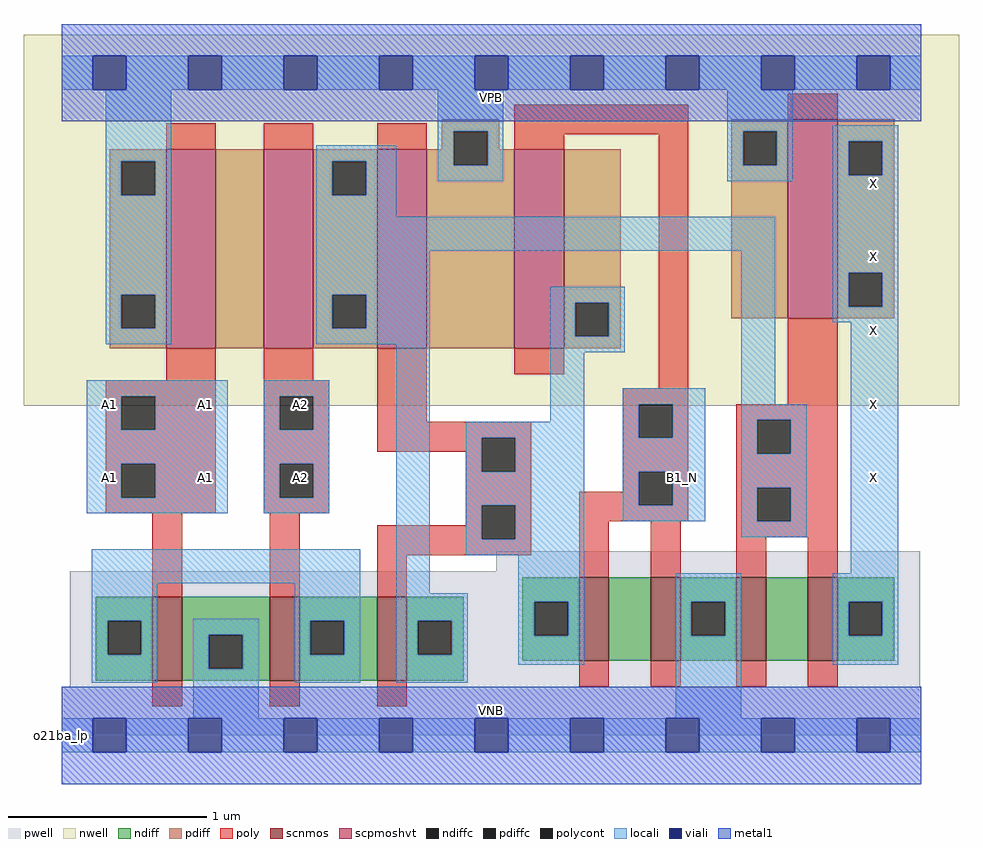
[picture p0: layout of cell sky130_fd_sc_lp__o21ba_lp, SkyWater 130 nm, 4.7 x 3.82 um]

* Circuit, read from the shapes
.subckt sky130_fd_sc_lp__o21ba_lp A1 A2 B1_N VGND VNB VPB VPWR X
XM1 VGND A1 n1 VNB sky130_fd_pr__nfet_01v8 w=0.42 l=0.15
XM2 n1 A2 VGND VNB sky130_fd_pr__nfet_01v8 w=0.42 l=0.15
XM3 n2 n3 n1 VNB sky130_fd_pr__nfet_01v8 w=0.42 l=0.15
XM4 n4 B1_N n3 VNB sky130_fd_pr__nfet_01v8 w=0.42 l=0.15
XM5 VGND B1_N n4 VNB sky130_fd_pr__nfet_01v8 w=0.42 l=0.15
XM6 n5 n2 VGND VNB sky130_fd_pr__nfet_01v8 w=0.42 l=0.15
XM7 X n2 n5 VNB sky130_fd_pr__nfet_01v8 w=0.42 l=0.15
XM8 n6 A1 VPWR VPB sky130_fd_pr__pfet_01v8_hvt w=1 l=0.25
XM9 n2 A2 n6 VPB sky130_fd_pr__pfet_01v8_hvt w=1 l=0.25
XM10 VPWR n3 n2 VPB sky130_fd_pr__pfet_01v8_hvt w=1 l=0.25
XM11 n3 B1_N VPWR VPB sky130_fd_pr__pfet_01v8_hvt w=1 l=0.25
XM12 X n2 VPWR VPB sky130_fd_pr__pfet_01v8_hvt w=1 l=0.25
.ends

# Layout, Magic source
magic
tech sky130A
magscale 1 2
<< nwell >>
rect -38 331 902 704
<< pwell >>
rect 437 165 863 185
rect 8 49 863 165
rect 0 0 864 49
<< scnmos >>
rect 91 55 121 139
rect 209 55 239 139
rect 317 55 347 139
rect 520 75 550 159
rect 592 75 622 159
rect 678 75 708 159
rect 750 75 780 159
<< scpmoshvt >>
rect 105 389 155 589
rect 203 389 253 589
rect 317 389 367 589
rect 455 389 505 589
rect 730 419 780 619
<< ndiff >>
rect 34 115 91 139
rect 34 81 46 115
rect 80 81 91 115
rect 34 55 91 81
rect 121 101 209 139
rect 121 67 148 101
rect 182 67 209 101
rect 121 55 209 67
rect 239 115 317 139
rect 239 81 250 115
rect 284 81 317 115
rect 239 55 317 81
rect 347 115 404 139
rect 347 81 358 115
rect 392 81 404 115
rect 347 55 404 81
rect 463 134 520 159
rect 463 100 475 134
rect 509 100 520 134
rect 463 75 520 100
rect 550 75 592 159
rect 622 134 678 159
rect 622 100 633 134
rect 667 100 678 134
rect 622 75 678 100
rect 708 75 750 159
rect 780 134 837 159
rect 780 100 791 134
rect 825 100 837 134
rect 780 75 837 100
<< pdiff >>
rect 382 607 440 619
rect 382 589 394 607
rect 48 577 105 589
rect 48 543 60 577
rect 94 543 105 577
rect 48 443 105 543
rect 48 409 60 443
rect 94 409 105 443
rect 48 389 105 409
rect 155 389 203 589
rect 253 577 317 589
rect 253 543 272 577
rect 306 543 317 577
rect 253 443 317 543
rect 253 409 272 443
rect 306 409 317 443
rect 253 389 317 409
rect 367 573 394 589
rect 428 589 440 607
rect 428 573 455 589
rect 367 389 455 573
rect 505 435 562 589
rect 505 401 516 435
rect 550 401 562 435
rect 505 389 562 401
rect 673 607 730 619
rect 673 573 685 607
rect 719 573 730 607
rect 673 419 730 573
rect 780 597 837 619
rect 780 563 791 597
rect 825 563 837 597
rect 780 465 837 563
rect 780 431 791 465
rect 825 431 837 465
rect 780 419 837 431
<< ndiffc >>
rect 46 81 80 115
rect 148 67 182 101
rect 250 81 284 115
rect 358 81 392 115
rect 475 100 509 134
rect 633 100 667 134
rect 791 100 825 134
<< pdiffc >>
rect 60 543 94 577
rect 60 409 94 443
rect 272 543 306 577
rect 272 409 306 443
rect 394 573 428 607
rect 516 401 550 435
rect 685 573 719 607
rect 791 563 825 597
rect 791 431 825 465
<< poly >>
rect 105 589 155 615
rect 203 589 253 615
rect 317 589 367 615
rect 455 604 630 634
rect 730 619 780 645
rect 455 589 505 604
rect 105 357 155 389
rect 44 341 155 357
rect 44 307 60 341
rect 94 307 155 341
rect 44 273 155 307
rect 44 239 60 273
rect 94 239 155 273
rect 44 223 155 239
rect 203 357 253 389
rect 203 341 269 357
rect 203 307 219 341
rect 253 307 269 341
rect 203 273 269 307
rect 317 315 367 389
rect 455 363 505 389
rect 600 349 630 604
rect 564 333 630 349
rect 730 333 780 419
rect 317 299 472 315
rect 317 285 422 299
rect 203 239 219 273
rect 253 239 269 273
rect 203 223 269 239
rect 406 265 422 285
rect 456 265 472 299
rect 406 231 472 265
rect 564 299 580 333
rect 614 299 630 333
rect 564 265 630 299
rect 564 245 580 265
rect 91 139 121 223
rect 209 139 239 223
rect 406 211 422 231
rect 317 197 422 211
rect 456 197 472 231
rect 317 181 472 197
rect 520 231 580 245
rect 614 231 630 265
rect 520 215 630 231
rect 678 317 780 333
rect 678 283 699 317
rect 733 283 780 317
rect 678 249 780 283
rect 678 215 699 249
rect 733 215 780 249
rect 317 139 347 181
rect 520 159 550 215
rect 592 159 622 215
rect 678 199 780 215
rect 678 159 708 199
rect 750 159 780 199
rect 91 29 121 55
rect 209 29 239 55
rect 317 29 347 55
rect 520 49 550 75
rect 592 49 622 75
rect 678 49 708 75
rect 750 49 780 75
<< polycont >>
rect 60 307 94 341
rect 60 239 94 273
rect 219 307 253 341
rect 219 239 253 273
rect 422 265 456 299
rect 580 299 614 333
rect 422 197 456 231
rect 580 231 614 265
rect 699 283 733 317
rect 699 215 733 249
<< locali >>
rect 0 649 31 683
rect 65 649 127 683
rect 161 649 223 683
rect 257 649 319 683
rect 353 649 415 683
rect 449 649 511 683
rect 545 649 607 683
rect 641 649 703 683
rect 737 649 799 683
rect 833 649 864 683
rect 44 577 110 649
rect 378 607 444 649
rect 44 543 60 577
rect 94 543 110 577
rect 44 443 110 543
rect 44 409 60 443
rect 94 409 110 443
rect 44 393 110 409
rect 256 577 336 593
rect 256 543 272 577
rect 306 543 336 577
rect 378 573 394 607
rect 428 573 444 607
rect 378 557 444 573
rect 669 607 735 649
rect 669 573 685 607
rect 719 573 735 607
rect 669 557 735 573
rect 775 597 841 613
rect 775 563 791 597
rect 825 563 841 597
rect 256 521 336 543
rect 256 487 717 521
rect 256 443 370 487
rect 256 409 272 443
rect 306 409 370 443
rect 256 393 370 409
rect 25 341 167 357
rect 25 307 60 341
rect 94 307 167 341
rect 25 273 167 307
rect 25 239 60 273
rect 94 239 167 273
rect 25 223 167 239
rect 203 341 269 357
rect 203 307 219 341
rect 253 307 269 341
rect 203 273 269 307
rect 203 239 219 273
rect 253 239 269 273
rect 203 223 269 239
rect 30 153 300 187
rect 30 115 96 153
rect 30 81 46 115
rect 80 81 96 115
rect 30 53 96 81
rect 132 101 198 117
rect 132 67 148 101
rect 182 67 198 101
rect 132 17 198 67
rect 234 115 300 153
rect 234 81 250 115
rect 284 81 300 115
rect 234 53 300 81
rect 336 143 370 393
rect 491 435 566 451
rect 491 401 516 435
rect 550 401 566 435
rect 491 385 566 401
rect 491 315 525 385
rect 406 299 525 315
rect 406 265 422 299
rect 456 265 525 299
rect 406 231 525 265
rect 406 197 422 231
rect 456 197 525 231
rect 564 333 647 349
rect 564 299 580 333
rect 614 299 647 333
rect 564 265 647 299
rect 564 231 580 265
rect 614 231 647 265
rect 564 215 647 231
rect 683 333 717 487
rect 775 465 841 563
rect 775 431 791 465
rect 825 431 841 465
rect 775 415 841 431
rect 683 317 749 333
rect 683 283 699 317
rect 733 283 749 317
rect 683 249 749 283
rect 683 215 699 249
rect 733 215 749 249
rect 683 199 749 215
rect 406 181 525 197
rect 336 115 408 143
rect 336 81 358 115
rect 392 81 408 115
rect 336 53 408 81
rect 459 134 525 181
rect 793 163 841 415
rect 459 100 475 134
rect 509 100 525 134
rect 459 71 525 100
rect 617 134 683 163
rect 617 100 633 134
rect 667 100 683 134
rect 617 17 683 100
rect 775 134 841 163
rect 775 100 791 134
rect 825 100 841 134
rect 775 71 841 100
rect 0 -17 31 17
rect 65 -17 127 17
rect 161 -17 223 17
rect 257 -17 319 17
rect 353 -17 415 17
rect 449 -17 511 17
rect 545 -17 607 17
rect 641 -17 703 17
rect 737 -17 799 17
rect 833 -17 864 17
<< viali >>
rect 31 649 65 683
rect 127 649 161 683
rect 223 649 257 683
rect 319 649 353 683
rect 415 649 449 683
rect 511 649 545 683
rect 607 649 641 683
rect 703 649 737 683
rect 799 649 833 683
rect 31 -17 65 17
rect 127 -17 161 17
rect 223 -17 257 17
rect 319 -17 353 17
rect 415 -17 449 17
rect 511 -17 545 17
rect 607 -17 641 17
rect 703 -17 737 17
rect 799 -17 833 17
<< metal1 >>
rect 0 683 864 715
rect 0 649 31 683
rect 65 649 127 683
rect 161 649 223 683
rect 257 649 319 683
rect 353 649 415 683
rect 449 649 511 683
rect 545 649 607 683
rect 641 649 703 683
rect 737 649 799 683
rect 833 649 864 683
rect 0 617 864 649
rect 0 17 864 49
rect 0 -17 31 17
rect 65 -17 127 17
rect 161 -17 223 17
rect 257 -17 319 17
rect 353 -17 415 17
rect 449 -17 511 17
rect 545 -17 607 17
rect 641 -17 703 17
rect 737 -17 799 17
rect 833 -17 864 17
rect 0 -49 864 -17
<< labels >>
flabel pwell s 0 0 864 49 0 FreeSans 200 0 0 0 VNB
port 5 nsew ground bidirectional
flabel nwell s 0 617 864 666 0 FreeSans 200 0 0 0 VPB
port 6 nsew power bidirectional
rlabel comment s 0 0 0 0 4 o21ba_lp
flabel metal1 s 0 617 864 666 0 FreeSans 340 0 0 0 VPWR
port 7 nsew power bidirectional
flabel metal1 s 0 0 864 49 0 FreeSans 340 0 0 0 VGND
port 4 nsew ground bidirectional
flabel locali s 607 242 641 276 0 FreeSans 340 0 0 0 B1_N
port 3 nsew signal input
flabel locali s 223 242 257 276 0 FreeSans 340 0 0 0 A2
port 2 nsew signal input
flabel locali s 223 316 257 350 0 FreeSans 340 0 0 0 A2
port 2 nsew signal input
flabel locali s 31 242 65 276 0 FreeSans 340 0 0 0 A1
port 1 nsew signal input
flabel locali s 31 316 65 350 0 FreeSans 340 0 0 0 A1
port 1 nsew signal input
flabel locali s 127 242 161 276 0 FreeSans 340 0 0 0 A1
port 1 nsew signal input
flabel locali s 127 316 161 350 0 FreeSans 340 0 0 0 A1
port 1 nsew signal input
flabel locali s 799 242 833 276 0 FreeSans 340 0 0 0 X
port 8 nsew signal output
flabel locali s 799 316 833 350 0 FreeSans 340 0 0 0 X
port 8 nsew signal output
flabel locali s 799 390 833 424 0 FreeSans 340 0 0 0 X
port 8 nsew signal output
flabel locali s 799 464 833 498 0 FreeSans 340 0 0 0 X
port 8 nsew signal output
flabel locali s 799 538 833 572 0 FreeSans 340 0 0 0 X
port 8 nsew signal output
<< properties >>
string LEFsite unit
string LEFclass CORE
string FIXED_BBOX 0 0 864 666
string GDS_FILE $PDKPATH/libs.ref/sky130_fd_sc_lp/gds/sky130_fd_sc_lp.gds
string LEFsymmetry X Y R90
string GDS_END 6534196
string GDS_START 6526524
<< end >>
